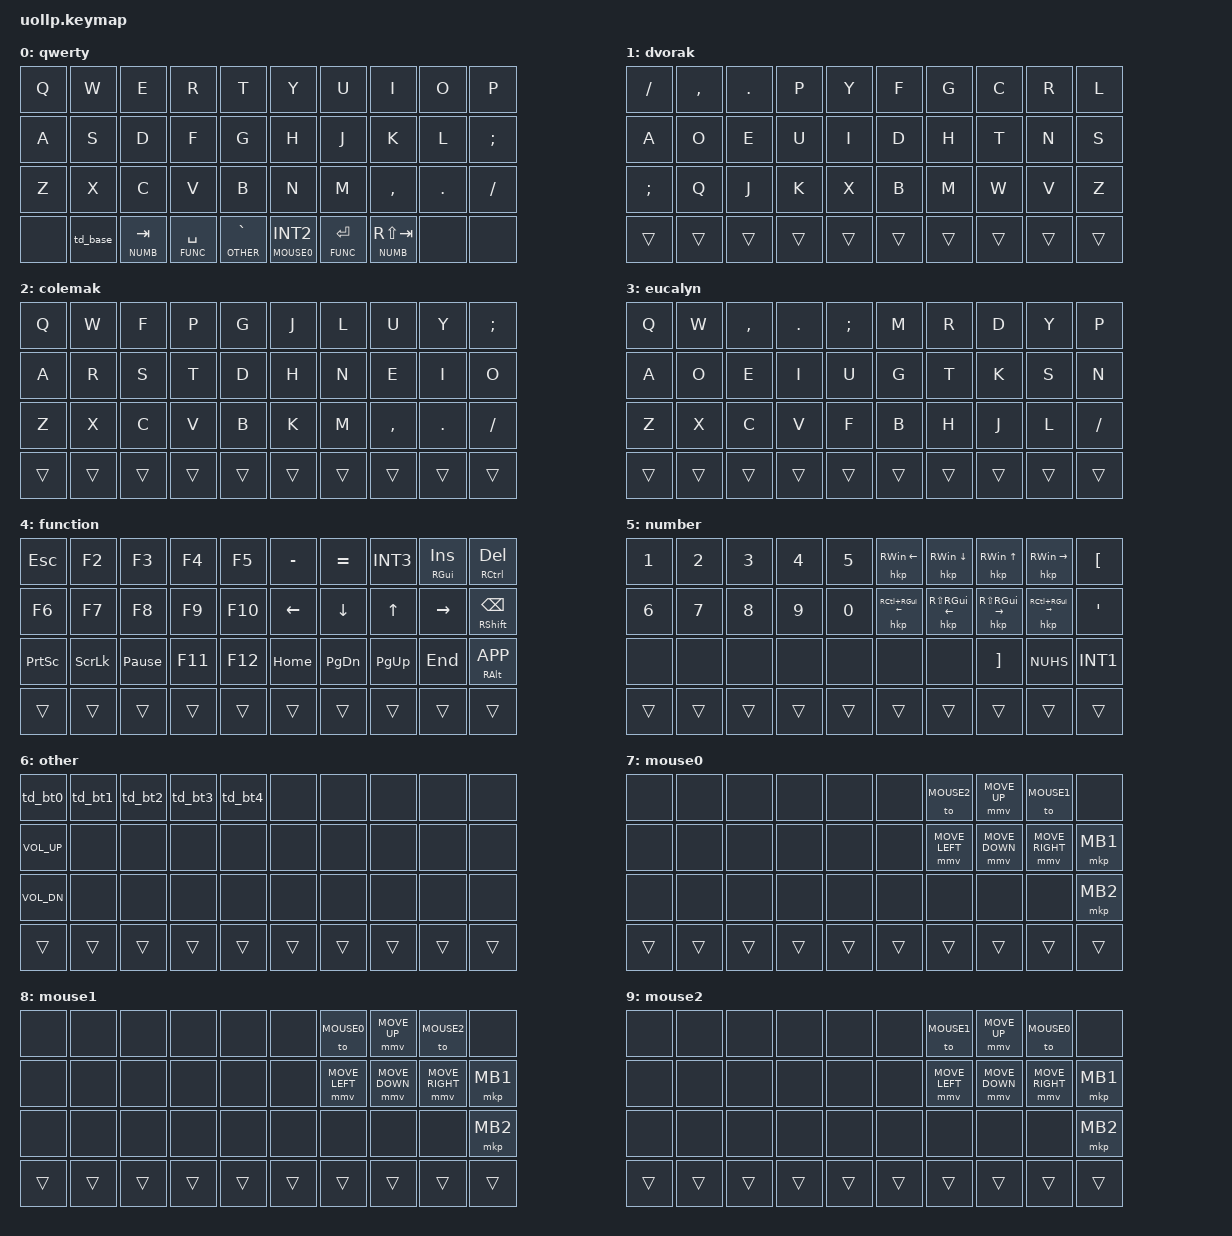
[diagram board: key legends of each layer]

#include <behaviors.dtsi>
#include <dt-bindings/zmk/bt.h>
#include <dt-bindings/zmk/keys.h>
#include <dt-bindings/zmk/outputs.h>
#include <dt-bindings/zmk/pointing.h>
#include <input/processors.dtsi>

#define QWERTY	0
#define DVORAK	1
#define COLEMAK	2
#define EUCALYN	3
#define FUNC	4
#define NUMB	5
#define OTHER	6
#define MOUSE0	7
#define MOUSE1	8
#define MOUSE2	9

#define COMBO(NAME, TM, POS, BIND) NAME {\
	slow-release; timeout-ms = <TM>;\
	key-positions = POS; bindings = BIND;\
}

#define MACRO(NAME, ...) NAME: NAME {\
	compatible = "zmk,behavior-macro";\
	#binding-cells = <0>; bindings = __VA_ARGS__;\
}

#define MACRO_ONE_PARAM(NAME, ...) NAME: NAME {\
	compatible = "zmk,behavior-macro-one-param";\
	#binding-cells = <1>; bindings = __VA_ARGS__;\
}

#define MACRO_TWO_PARAM(NAME, ...) NAME: NAME {\
	compatible = "zmk,behavior-macro-two-param";\
	#binding-cells = <2>; bindings = __VA_ARGS__;\
}

#define TAP_DANCE(NAME, TERM, ...) NAME: NAME {\
	compatible = "zmk,behavior-tap-dance";\
	#binding-cells = <0>; tapping-term-ms = <TERM>; bindings = __VA_ARGS__;\
}

&lt { flavor = "hold-preferred"; };
&mt { flavor = "hold-preferred"; quick-tap-ms = <300>; };
&mmv_input_listener { mouse0 { layers = <MOUSE0>; input-processors = <&zip_xy_scaler 3 3>; }; };
&mmv_input_listener { mouse1 { layers = <MOUSE1>; input-processors = <&zip_xy_scaler 5 3>; }; };
&mmv_input_listener { mouse2 { layers = <MOUSE2>; input-processors = <&zip_xy_scaler 6 3>; }; };

/ {

	chosen {
		zmk,physical-layout = &layout4x5x2;
	};

	behaviors {
		
		MACRO(mkp_2mb1, <&macro_tap &mkp MB1 &mkp MB1>);
		MACRO(mkp_3mb1, <&macro_tap &mkp MB1 &mkp MB1 &mkp MB1>);
		
		MACRO(half, <&macro_tap &kp INT2 &kp GRAVE>);
		MACRO(home, <&macro_tap &kp A &kp S &kp D &kp F &kp SEMI &kp L &kp K &kp J>);

		MACRO_ONE_PARAM(bt_clr
			, <&macro_param_1to2>
			, <&macro_tap &bt BT_SEL MACRO_PLACEHOLDER>
			, <&macro_tap &bt BT_CLR>
		);

		MACRO_TWO_PARAM(hkp
			, <&macro_param_1to1>, <&macro_press &kp MACRO_PLACEHOLDER>
			, <&macro_param_2to1>, <&macro_press &kp MACRO_PLACEHOLDER>
			, <&macro_pause_for_release>
			, <&macro_param_2to1>, <&macro_release &kp MACRO_PLACEHOLDER>
			, <&macro_param_1to1>, <&macro_release &kp MACRO_PLACEHOLDER>
		);

		TAP_DANCE(td_grave, 300, <&half>, <&kp INT2>);
		TAP_DANCE(td_tab, 300, <&kp TAB>, <&hkp LSHFT TAB>);
		TAP_DANCE(td_bt0, 300, <&bt BT_SEL 0>, <&bt_clr 0>);
		TAP_DANCE(td_bt1, 300, <&bt BT_SEL 1>, <&bt_clr 1>);
		TAP_DANCE(td_bt2, 300, <&bt BT_SEL 2>, <&bt_clr 2>);
		TAP_DANCE(td_bt3, 300, <&bt BT_SEL 3>, <&bt_clr 3>);
		TAP_DANCE(td_bt4, 300, <&bt BT_SEL 4>, <&bt_clr 4>);
		TAP_DANCE(td_base, 1000, <&to QWERTY>, <&to DVORAK>, <&to COLEMAK>, <&to EUCALYN>);
	};
	
	keymap {
		
		compatible = "zmk,keymap";
		qwerty {
			bindings = <
				&kp Q	&kp W		&kp E			&kp R			&kp T			&kp Y			&kp U			&kp I				&kp O	&kp P
				&kp A	&kp S		&kp D			&kp F			&kp G			&kp H			&kp J			&kp K				&kp L	&kp SEMI
				&kp Z	&kp X		&kp C			&kp V			&kp B			&kp N			&kp M			&kp COMMA			&kp DOT	&kp SLASH
				&none	&td_base	&lt NUMB TAB	&lt FUNC SPACE	&lt OTHER GRAVE	&lt MOUSE0 INT2	&lt FUNC ENTER	&lt NUMB RS(TAB)	&none	&none
			>;
		};
		dvorak {
			bindings = <
				&kp SLASH	&kp COMMA	&kp DOT		&kp P	&kp Y	&kp F	&kp G	&kp C	&kp R	&kp L
				&kp A		&kp O		&kp E		&kp U	&kp I	&kp D	&kp H	&kp T	&kp N	&kp S
				&kp SEMI	&kp Q		&kp J		&kp K	&kp X	&kp B	&kp M	&kp W	&kp V	&kp Z
				&trans		&trans		&trans		&trans	&trans	&trans	&trans	&trans	&trans	&trans
			>;
		};
		colemak {
			bindings = <
				&kp Q	&kp W	&kp F	&kp P	&kp G	&kp J	&kp L	&kp U		&kp Y	&kp SEMI
				&kp A	&kp R	&kp S	&kp T	&kp D	&kp H	&kp N	&kp E		&kp I	&kp O
				&kp Z	&kp X	&kp C	&kp V	&kp B	&kp K	&kp M	&kp COMMA	&kp DOT	&kp SLASH
				&trans	&trans	&trans	&trans	&trans	&trans	&trans	&trans		&trans	&trans
			>;
		};
		eucalyn {
			bindings = <
				&kp Q	&kp W	&kp COMMA	&kp DOT		&kp SEMI	&kp M	&kp R	&kp D	&kp Y	&kp P
				&kp A	&kp O	&kp E		&kp I		&kp U		&kp G	&kp T	&kp K	&kp S	&kp N
				&kp Z	&kp X	&kp C		&kp V		&kp F		&kp B	&kp H	&kp J	&kp L	&kp SLASH
				&trans	&trans	&trans		&trans		&trans		&trans	&trans	&trans	&trans	&trans
			>;
		};
		function {
			bindings = <
				&kp ESC		&kp F2		&kp F3			&kp F4		&kp F5		&kp MINUS	&kp EQUAL	&kp INT3	&mt RGUI INS	&mt RCTRL DEL
				&kp F6		&kp F7		&kp F8			&kp F9		&kp F10		&kp LEFT	&kp DOWN	&kp UP		&kp RIGHT		&mt RSHFT BSPC
				&kp PSCRN	&kp SLCK	&kp PAUSE_BREAK	&kp F11		&kp F12		&kp HOME	&kp PG_DN	&kp PG_UP	&kp END			&mt RALT K_APP
				&trans		&trans		&trans			&trans		&trans		&trans		&trans		&trans		&trans			&trans
			>;
		};
		number {
			bindings = <
				&kp N1	&kp N2	&kp N3	&kp N4	&kp N5	&hkp RWIN LEFT		&hkp RWIN DOWN		&hkp RWIN UP		&hkp RWIN RIGHT		&kp LBKT
				&kp N6	&kp N7	&kp N8	&kp N9	&kp N0	&hkp RC(RGUI) LEFT	&hkp RS(RGUI) LEFT	&hkp RS(RGUI) RIGHT	&hkp RC(RGUI) RIGHT	&kp SQT
				&none	&none	&none 	&none   &none	&none				&none				&kp RBKT			&kp NUHS			&kp INT1
				&trans	&trans	&trans	&trans	&trans	&trans				&trans				&trans				&trans				&trans
			>;
		};
		other {
			bindings = <
				&td_bt0			&td_bt1	&td_bt2	&td_bt3	&td_bt4	&none	&none	&none	&none	&none
				&kp C_VOL_UP	&none	&none	&none	&none	&none	&none	&none	&none	&none
				&kp C_VOL_DN	&none	&none	&none	&none	&none	&none	&none	&none	&none
				&trans			&trans	&trans	&trans	&trans	&trans	&trans	&trans	&trans	&trans
			>;
		};
		mouse0 {
			bindings = <
				&none	&none	&none	&none	&none	&none	&to MOUSE2		&mmv MOVE_UP	&to MOUSE1		&none
				&none	&none	&none	&none	&none	&none	&mmv MOVE_LEFT	&mmv MOVE_DOWN	&mmv MOVE_RIGHT	&mkp MB1
				&none	&none	&none	&none	&none	&none	&none			&none			&none			&mkp MB2
				&trans	&trans	&trans	&trans	&trans	&trans	&trans			&trans			&trans			&trans
			>;
		};
		mouse1 {
			bindings = <
				&none	&none	&none	&none	&none	&none	&to MOUSE0		&mmv MOVE_UP	&to MOUSE2		&none
				&none	&none	&none	&none	&none	&none	&mmv MOVE_LEFT	&mmv MOVE_DOWN	&mmv MOVE_RIGHT	&mkp MB1
				&none	&none	&none	&none	&none	&none	&none			&none			&none			&mkp MB2
				&trans	&trans	&trans	&trans	&trans	&trans	&trans			&trans			&trans			&trans
			>;
		};
		mouse2 {
			bindings = <
				&none	&none	&none	&none	&none	&none	&to MOUSE1		&mmv MOVE_UP	&to MOUSE0		&none
				&none	&none	&none	&none	&none	&none	&mmv MOVE_LEFT	&mmv MOVE_DOWN	&mmv MOVE_RIGHT	&mkp MB1
				&none	&none	&none	&none	&none	&none	&none			&none			&none			&mkp MB2
				&trans	&trans	&trans	&trans	&trans	&trans	&trans			&trans			&trans			&trans
			>;
		};
	};
	
	combos {
		
		compatible = "zmk,combos";
		
		COMBO(bootloader, 35, <0 10 20>, <&bootloader>);		COMBO(out_tog, 35, <0 1>, <&out OUT_TOG>);
		
		COMBO(single_mb1, 35, <16 17>, <&mkp MB1>);				COMBO(single_mb2, 35, <17 18>, <&mkp MB2>);
		COMBO(single_mb4, 35, <26 27>, <&mkp MB4>);				COMBO(single_mb5, 35, <27 28>, <&mkp MB5>);
		COMBO(double_mb1, 35, <16 17 18>, <&mkp_2mb1>);			COMBO(triple_mb1, 35, <26 27 28>, <&mkp_3mb1>);
		COMBO(single_mb3, 35, <16 18>, <&mkp MB3>);				COMBO(mute, 35, <10 20>, <&kp C_MUTE>);

		COMBO(hrm_lctl, 35, <10 11>, <&kp LCTRL>);				COMBO(hrm_lsht, 35, <11 12>, <&kp LSHFT>);
		COMBO(hrm_lalt, 35, <12 13>, <&kp LALT>);				COMBO(hrm_lgui, 35, <12 14>, <&kp LGUI>);
		COMBO(hrm_lctl_lsht, 35, <10 11 12>, <&kp LC(LSHFT)>);	COMBO(hrm_lsht_lalt, 35, <11 12 13>, <&kp LS(LALT)>);
		COMBO(hrm_lalt_lgui, 35, <13 14>, <&kp LA(LGUI)>);		COMBO(hrm_lsht_lgui, 35, <11 14>, <&kp LS(LGUI)>);
		COMBO(hrm_lctl_lgui, 35, <10 14>, <&kp LC(LGUI)>);		COMBO(hrm_lctl_lalt, 35, <10 13>, <&kp LC(LALT)>);

		COMBO(hrm_lmeh, 35, <10 11 12 13>, <&kp LC(LS(LALT))>);
	};
};
